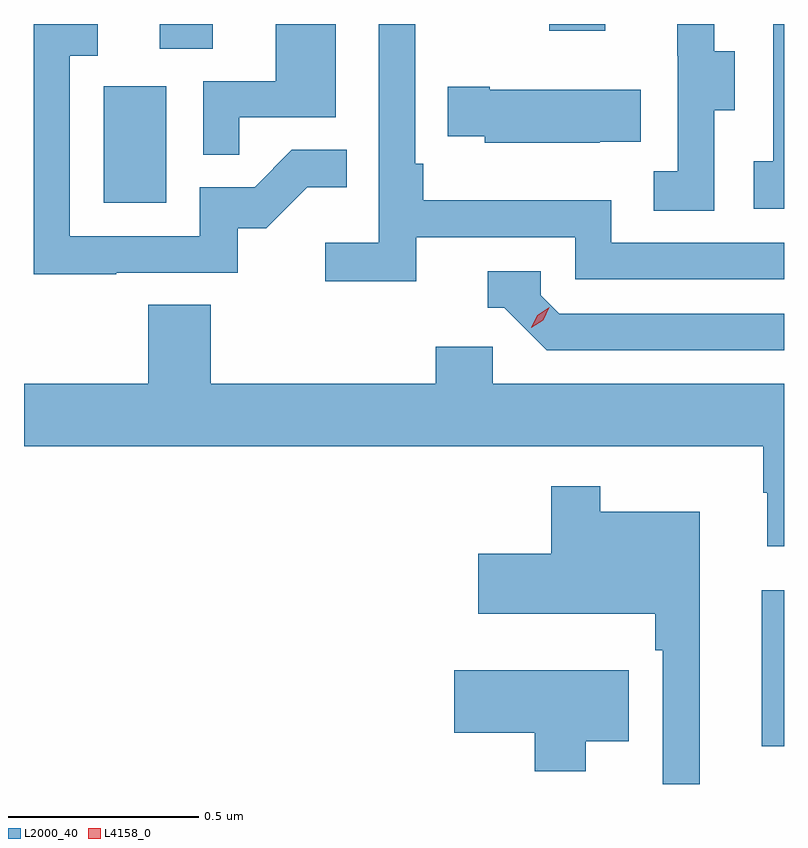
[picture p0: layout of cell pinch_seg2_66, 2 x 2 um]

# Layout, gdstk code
import gdstk
lib = gdstk.Library(unit=1e-6, precision=1e-09)
def R(c, l, rs):  # rectangles x0, y0, x1, y1
    for r in rs: c.add(gdstk.rectangle(r[:2], r[2:], *l))
def P(c, l, *ps):  # polygons
    for p in ps: c.add(gdstk.Polygon(p, *l))
L2000_40 = (2000, 40)
L4158_0 = (4158, 0)

pinch_seg2_66 = lib.new_cell('pinch_seg2_66')
R(pinch_seg2_66, L2000_40, [(1020.197,657.503,1020.256,657.913), (1018.466,658.932,1018.63,659.239), (1018.613,659.338,1018.753,659.403), (1019.638,659.385,1019.785,659.403)])
P(pinch_seg2_66, L2000_40, [(1018.499,658.749),(1018.818,658.749),(1018.818,658.866),(1018.894,658.866),(1019.001,658.973),(1019.105,658.973),(1019.105,659.072),(1018.961,659.072),(1018.863,658.974),(1018.719,658.974),(1018.719,658.845),(1018.377,658.845),(1018.377,659.319),(1018.45,659.319),(1018.45,659.403),(1018.281,659.403),(1018.281,658.744),(1018.499,658.744)],
  [(1019.288,658.842),(1019.706,658.842),(1019.706,658.731),(1020.256,658.731),(1020.256,658.827),(1019.802,658.827),(1019.802,658.939),(1019.306,658.939),(1019.306,659.035),(1019.286,659.035),(1019.286,659.403),(1019.19,659.403),(1019.19,658.828),(1019.049,658.828),(1019.049,658.726),(1019.288,658.726)],
  [(1020.256,659.403),(1020.228,659.403),(1020.228,659.042),(1020.177,659.042),(1020.177,658.917),(1020.256,658.917)],
  [(1020.072,659.176),(1020.127,659.176),(1020.127,659.331),(1020.073,659.331),(1020.073,659.403),(1019.975,659.403),(1019.975,659.319),(1019.976,659.319),(1019.976,659.015),(1019.913,659.015),(1019.913,658.912),(1020.072,658.912)],
  [(1018.823,659.157),(1019.077,659.157),(1019.077,659.403),(1018.919,659.403),(1018.919,659.253),(1018.728,659.253),(1018.728,659.059),(1018.823,659.059)],
  [(1019.771,659.093),(1019.879,659.093),(1019.879,659.23),(1019.482,659.23),(1019.482,659.238),(1019.371,659.238),(1019.371,659.108),(1019.469,659.108),(1019.469,659.09),(1019.771,659.09)],
  [(1020.256,658.641),(1019.664,658.641),(1019.616,658.689),(1019.616,658.752),(1019.477,658.752),(1019.477,658.656),(1019.52,658.656),(1019.631,658.545),(1020.256,658.545)],
  [(1019.49,658.554),(1019.339,658.554),(1019.339,658.456),(1018.748,658.456),(1018.748,658.664),(1018.583,658.664),(1018.583,658.456),(1018.256,658.456),(1018.256,658.292),(1020.201,658.292),(1020.201,658.169),(1020.212,658.169),(1020.212,658.029),(1020.256,658.029),(1020.256,658.456),(1019.49,658.456)],
  [(1020.034,658.12),(1019.773,658.12),(1019.773,658.186),(1019.644,658.186),(1019.644,658.009),(1019.451,658.009),(1019.451,657.851),(1019.917,657.851),(1019.917,657.755),(1019.937,657.755),(1019.937,657.403),(1020.034,657.403)],
  [(1019.734,657.515),(1019.848,657.515),(1019.848,657.703),(1019.388,657.703),(1019.388,657.538),(1019.6,657.538),(1019.6,657.437),(1019.734,657.437)])
P(pinch_seg2_66, L4158_0, [(1019.591,658.604),(1019.591,658.605),(1019.607,658.637),(1019.638,658.657),(1019.638,658.657),(1019.638,658.657),(1019.622,658.624),(1019.591,658.604)])

lib.write_gds('pinch_seg2_66.gds')
